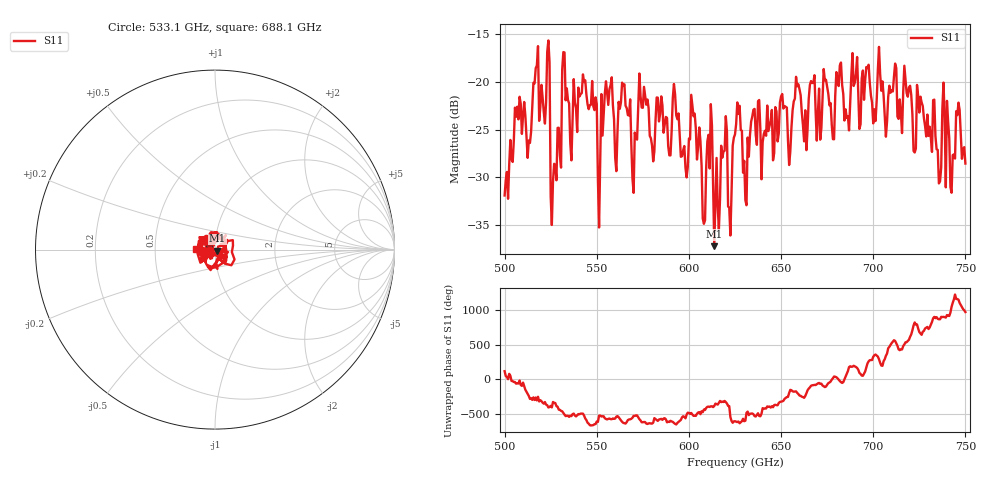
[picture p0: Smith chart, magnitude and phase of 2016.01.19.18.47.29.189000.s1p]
!Created with skrf (http://scikit-rf.org).
# GHz S RI R 50.0
!freq ReS11 ImS11
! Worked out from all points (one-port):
!   401 points, 500 GHz to 750 GHz, reference 50 ohm
!   lowest |S11| = -37.2 dB at 613.8 GHz (marker M1), VSWR 1.03, Z = 51.2 - j0.653 ohm
!   |S11| at or under -10 dB: start of sweep to end of sweep
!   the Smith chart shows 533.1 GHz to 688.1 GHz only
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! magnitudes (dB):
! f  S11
! 500 GHz  -31.9
! 506.9 GHz  -22.6
! 513.1 GHz  -26.1
! 516.9 GHz  -18.6
! 523.1 GHz  -16.9
! 526.2 GHz  -30.4
! 531.2 GHz  -18.7
! 548.8 GHz  -23.0
! 551.9 GHz  -27.9
! 555.6 GHz  -21.2
! 562.5 GHz  -22.8
! 570 GHz  -31.6
! 574.4 GHz  -22.7
! 580 GHz  -26.7
! 593.8 GHz  -23.9
! 611.2 GHz  -29.1
! 613.8 GHz  -37.2
! 619.4 GHz  -27.2
! 622.5 GHz  -36.1
! 625 GHz  -25.5
! 630.6 GHz  -32.4
! 634.4 GHz  -23.6
! 656.2 GHz  -23.0
! 687.5 GHz  -22.2
! 718.8 GHz  -21.6
! 735.6 GHz  -30.7
! 746.2 GHz  -22.2
! 750 GHz  -28.6
